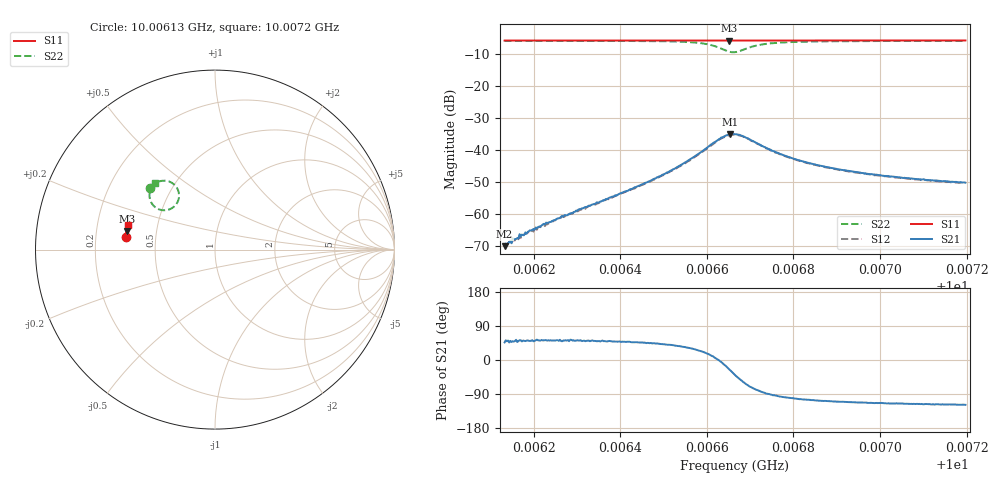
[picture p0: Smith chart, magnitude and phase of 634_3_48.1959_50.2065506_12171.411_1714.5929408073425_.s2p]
#  HZ  S  RI  R  50.00
! Rohde & Schwarz Vector Network Analyzer
! Rohde-Schwarz,ZNB20-2Port,1311601062101988,3.16
! Created: UTC 3/20/2024, 12:04:33 PM
! freq[Hz]  re:S11  im:S11  re:S21  im:S21  re:S12  im:S12  re:S22  im:S22
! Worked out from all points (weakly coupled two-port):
!   401 points, 10.00613 GHz to 10.0072 GHz, reference 50 ohm
!   highest |S21| = -35.11 dB at 10.00665 GHz (marker M1); lowest = -70.1 dB at 10.00613 GHz (marker M2)
!   lowest |S11| = -6.0 dB at 10.00665 GHz (marker M3), VSWR 3.02, Z = 16.7 + j4.56 ohm
!   |S11| at or under -10 dB: nowhere
!   |S22| runs from -9.6 to -6.0 dB; largest |S21 - S12| = 0.0013
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1.0006133e10  -0.4986 0.0689  0.000216 0.000228  0.000176 0.000277  -0.3609 0.3447
1.0006144e10  -0.4986 0.0696  0.000249 0.00026  0.000213 0.000303  -0.3603 0.3454
1.0006157e10  -0.4985 0.0704  0.000259 0.000309  0.000242 0.000302  -0.3594 0.3463
1.0006194e10  -0.4983 0.0729  0.000348 0.000427  0.00032 0.00042  -0.3567 0.349
1.0006232e10  -0.498 0.0753  0.000452 0.000564  0.000389 0.000566  -0.3539 0.3519
1.0006242e10  -0.4978 0.076  0.000479 0.000599  0.000453 0.000629  -0.353 0.3528
1.0006311e10  -0.4972 0.0805  0.000787 0.000934  0.000725 0.00094  -0.3468 0.3585
1.0006436e10  -0.4961 0.0887  0.00178 0.00191  0.00168 0.00194  -0.3293 0.3712
1.0006489e10  -0.4954 0.0924  0.0028 0.00261  0.00259 0.00269  -0.3159 0.378
1.0006545e10  -0.4947 0.0959  0.00499 0.00345  0.00465 0.00363  -0.2909 0.3838
1.0006598e10  -0.4935 0.0996  0.01 0.0033  0.00953 0.00375  -0.2423 0.3734
1.0006633e10  -0.4926 0.1014  0.0154 -0.00138  0.0149 -0.00053  -0.2022 0.3194
1.0006652e10  -0.492 0.1019  0.0156 -0.00725  0.0157 -0.00598  -0.2084 0.2658
1.0006654e10  -0.4921 0.1021  0.0156 -0.00808  0.0157 -0.00676  -0.2123 0.2583
1.0006665e10  -0.4922 0.1023  0.0135 -0.0111  0.0139 -0.00991  -0.2358 0.2336
1.0006686e10  -0.4923 0.1033  0.00808 -0.0138  0.00863 -0.0131  -0.294 0.2197
1.0006723e10  -0.4926 0.1057  0.00148 -0.0118  0.00221 -0.0116  -0.3507 0.2547
1.0006782e10  -0.4923 0.1098  -0.00121 -0.00789  -0.000786 -0.00784  -0.365 0.3008
1.0006843e10  -0.4917 0.1138  -0.00164 -0.00581  -0.00134 -0.00582  -0.3617 0.3247
1.0006928e10  -0.4905 0.1194  -0.00169 -0.00436  -0.00143 -0.00433  -0.3548 0.3426
1.0007021e10  -0.4893 0.1252  -0.0016 -0.00347  -0.00142 -0.00352  -0.3477 0.3544
1.0007197e10  -0.4868 0.1365  -0.00145 -0.0027  -0.0013 -0.00275  -0.3363 0.3692
